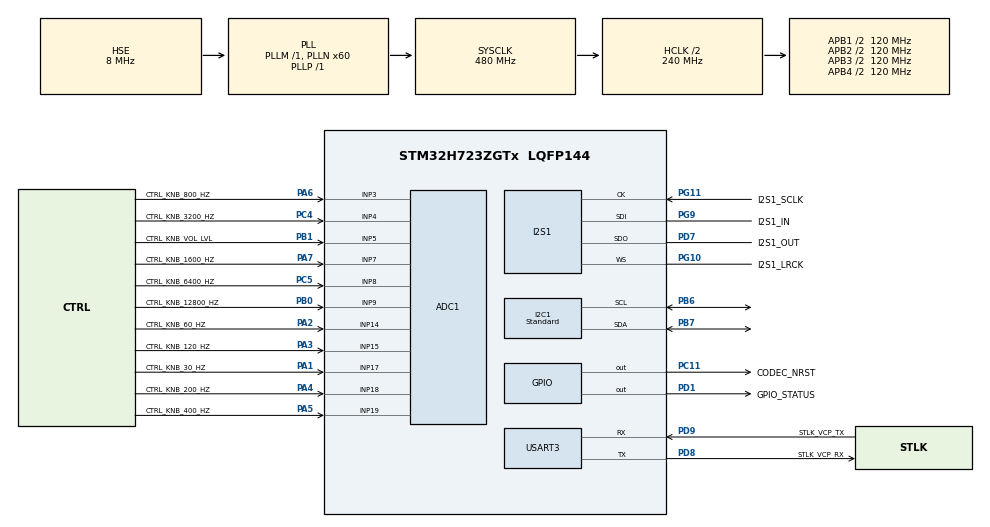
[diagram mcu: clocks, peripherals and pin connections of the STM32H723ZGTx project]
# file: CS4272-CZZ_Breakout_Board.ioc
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ADC1.Channel-0\#ChannelRegularConversion=ADC_CHANNEL_17
ADC1.Channel-1\#ChannelRegularConversion=ADC_CHANNEL_14
ADC1.Channel-10\#ChannelRegularConversion=ADC_CHANNEL_5
ADC1.Channel-2\#ChannelRegularConversion=ADC_CHANNEL_15
ADC1.Channel-3\#ChannelRegularConversion=ADC_CHANNEL_18
ADC1.Channel-4\#ChannelRegularConversion=ADC_CHANNEL_19
ADC1.Channel-5\#ChannelRegularConversion=ADC_CHANNEL_3
ADC1.Channel-6\#ChannelRegularConversion=ADC_CHANNEL_7
ADC1.Channel-7\#ChannelRegularConversion=ADC_CHANNEL_4
ADC1.Channel-8\#ChannelRegularConversion=ADC_CHANNEL_8
ADC1.Channel-9\#ChannelRegularConversion=ADC_CHANNEL_9
ADC1.ContinuousConvMode=DISABLE
ADC1.ConversionDataManagement=ADC_CONVERSIONDATA_DMA_CIRCULAR
ADC1.EOCSelection=ADC_EOC_SEQ_CONV
ADC1.ExternalTrigConv=ADC_EXTERNALTRIG_T2_TRGO
ADC1.NbrOfConversion=11
ADC1.NbrOfConversionFlag=1
ADC1.OffsetNumber-0\#ChannelRegularConversion=ADC_OFFSET_NONE
ADC1.OffsetNumber-1\#ChannelRegularConversion=ADC_OFFSET_NONE
ADC1.OffsetNumber-10\#ChannelRegularConversion=ADC_OFFSET_NONE
ADC1.OffsetNumber-2\#ChannelRegularConversion=ADC_OFFSET_NONE
ADC1.OffsetNumber-3\#ChannelRegularConversion=ADC_OFFSET_NONE
ADC1.OffsetNumber-4\#ChannelRegularConversion=ADC_OFFSET_NONE
ADC1.OffsetNumber-5\#ChannelRegularConversion=ADC_OFFSET_NONE
ADC1.OffsetNumber-6\#ChannelRegularConversion=ADC_OFFSET_NONE
ADC1.OffsetNumber-7\#ChannelRegularConversion=ADC_OFFSET_NONE
ADC1.OffsetNumber-8\#ChannelRegularConversion=ADC_OFFSET_NONE
ADC1.OffsetNumber-9\#ChannelRegularConversion=ADC_OFFSET_NONE
ADC1.OffsetSignedSaturation-0\#ChannelRegularConversion=DISABLE
ADC1.OffsetSignedSaturation-1\#ChannelRegularConversion=DISABLE
ADC1.OffsetSignedSaturation-10\#ChannelRegularConversion=DISABLE
ADC1.OffsetSignedSaturation-2\#ChannelRegularConversion=DISABLE
ADC1.OffsetSignedSaturation-3\#ChannelRegularConversion=DISABLE
ADC1.OffsetSignedSaturation-4\#ChannelRegularConversion=DISABLE
ADC1.OffsetSignedSaturation-5\#ChannelRegularConversion=DISABLE
ADC1.OffsetSignedSaturation-6\#ChannelRegularConversion=DISABLE
ADC1.OffsetSignedSaturation-7\#ChannelRegularConversion=DISABLE
ADC1.OffsetSignedSaturation-8\#ChannelRegularConversion=DISABLE
ADC1.OffsetSignedSaturation-9\#ChannelRegularConversion=DISABLE
ADC1.Rank-0\#ChannelRegularConversion=1
ADC1.Rank-1\#ChannelRegularConversion=2
ADC1.Rank-10\#ChannelRegularConversion=11
ADC1.Rank-2\#ChannelRegularConversion=3
ADC1.Rank-3\#ChannelRegularConversion=4
ADC1.Rank-4\#ChannelRegularConversion=5
ADC1.Rank-5\#ChannelRegularConversion=6
ADC1.Rank-6\#ChannelRegularConversion=7
ADC1.Rank-7\#ChannelRegularConversion=8
ADC1.Rank-8\#ChannelRegularConversion=9
ADC1.Rank-9\#ChannelRegularConversion=10
ADC1.SamplingTime-0\#ChannelRegularConversion=ADC_SAMPLETIME_387CYCLES_5
ADC1.SamplingTime-1\#ChannelRegularConversion=ADC_SAMPLETIME_387CYCLES_5
ADC1.SamplingTime-10\#ChannelRegularConversion=ADC_SAMPLETIME_387CYCLES_5
ADC1.SamplingTime-2\#ChannelRegularConversion=ADC_SAMPLETIME_387CYCLES_5
ADC1.SamplingTime-3\#ChannelRegularConversion=ADC_SAMPLETIME_387CYCLES_5
ADC1.SamplingTime-4\#ChannelRegularConversion=ADC_SAMPLETIME_387CYCLES_5
ADC1.SamplingTime-5\#ChannelRegularConversion=ADC_SAMPLETIME_387CYCLES_5
ADC1.SamplingTime-6\#ChannelRegularConversion=ADC_SAMPLETIME_387CYCLES_5
ADC1.SamplingTime-7\#ChannelRegularConversion=ADC_SAMPLETIME_387CYCLES_5
ADC1.SamplingTime-8\#ChannelRegularConversion=ADC_SAMPLETIME_387CYCLES_5
ADC1.SamplingTime-9\#ChannelRegularConversion=ADC_SAMPLETIME_387CYCLES_5
ADC1.master=1
Dma.ADC1.0.Direction=DMA_PERIPH_TO_MEMORY
Dma.ADC1.0.EventEnable=DISABLE
Dma.ADC1.0.FIFOMode=DMA_FIFOMODE_DISABLE
Dma.ADC1.0.Instance=DMA1_Stream0
Dma.ADC1.0.MemDataAlignment=DMA_MDATAALIGN_HALFWORD
Dma.ADC1.0.MemInc=DMA_MINC_ENABLE
Dma.ADC1.0.Mode=DMA_CIRCULAR
Dma.ADC1.0.PeriphDataAlignment=DMA_PDATAALIGN_HALFWORD
Dma.ADC1.0.PeriphInc=DMA_PINC_DISABLE
Dma.ADC1.0.Polarity=HAL_DMAMUX_REQ_GEN_RISING
Dma.ADC1.0.Priority=DMA_PRIORITY_VERY_HIGH
Dma.ADC1.0.RequestNumber=1
Dma.ADC1.0.SignalID=NONE
Dma.ADC1.0.SyncEnable=DISABLE
Dma.ADC1.0.SyncPolarity=HAL_DMAMUX_SYNC_NO_EVENT
Dma.ADC1.0.SyncRequestNumber=1
Dma.ADC1.0.SyncSignalID=NONE
Dma.Request0=ADC1
Dma.Request1=SPI1_RX
Dma.Request2=SPI1_TX
Dma.SPI1_RX.1.Direction=DMA_PERIPH_TO_MEMORY
Dma.SPI1_RX.1.EventEnable=DISABLE
Dma.SPI1_RX.1.FIFOMode=DMA_FIFOMODE_DISABLE
Dma.SPI1_RX.1.Instance=DMA1_Stream1
Dma.SPI1_RX.1.MemDataAlignment=DMA_MDATAALIGN_WORD
Dma.SPI1_RX.1.MemInc=DMA_MINC_ENABLE
Dma.SPI1_RX.1.Mode=DMA_CIRCULAR
Dma.SPI1_RX.1.PeriphDataAlignment=DMA_PDATAALIGN_WORD
Dma.SPI1_RX.1.PeriphInc=DMA_PINC_DISABLE
Dma.SPI1_RX.1.Polarity=HAL_DMAMUX_REQ_GEN_RISING
Dma.SPI1_RX.1.Priority=DMA_PRIORITY_VERY_HIGH
Dma.SPI1_RX.1.RequestNumber=1
Dma.SPI1_RX.1.SignalID=NONE
Dma.SPI1_RX.1.SyncEnable=DISABLE
Dma.SPI1_RX.1.SyncPolarity=HAL_DMAMUX_SYNC_NO_EVENT
Dma.SPI1_RX.1.SyncRequestNumber=1
Dma.SPI1_RX.1.SyncSignalID=NONE
Dma.SPI1_TX.2.Direction=DMA_MEMORY_TO_PERIPH
Dma.SPI1_TX.2.EventEnable=DISABLE
Dma.SPI1_TX.2.FIFOMode=DMA_FIFOMODE_DISABLE
Dma.SPI1_TX.2.Instance=DMA1_Stream2
Dma.SPI1_TX.2.MemDataAlignment=DMA_MDATAALIGN_WORD
Dma.SPI1_TX.2.MemInc=DMA_MINC_ENABLE
Dma.SPI1_TX.2.Mode=DMA_CIRCULAR
Dma.SPI1_TX.2.PeriphDataAlignment=DMA_PDATAALIGN_WORD
Dma.SPI1_TX.2.PeriphInc=DMA_PINC_DISABLE
Dma.SPI1_TX.2.Polarity=HAL_DMAMUX_REQ_GEN_RISING
Dma.SPI1_TX.2.Priority=DMA_PRIORITY_VERY_HIGH
Dma.SPI1_TX.2.RequestNumber=1
Dma.SPI1_TX.2.SignalID=NONE
Dma.SPI1_TX.2.SyncEnable=DISABLE
Dma.SPI1_TX.2.SyncPolarity=HAL_DMAMUX_SYNC_NO_EVENT
Dma.SPI1_TX.2.SyncRequestNumber=1
Dma.SPI1_TX.2.SyncSignalID=NONE
I2C1.I2C_Speed_Mode=I2C_Standard
I2C1.NoStretchMode=I2C_NOSTRETCH_DISABLE
I2C1.Speed=100
I2C1.Timing=0x307075B1
I2S1.AudioFreq=I2S_AUDIOFREQ_48K
I2S1.Data24BitAlignment=I2S_DATA_24BIT_ALIGNMENT_LEFT
I2S1.DataFormat=I2S_DATAFORMAT_24B
I2S1.ErrorAudioFreq=0.15 %
I2S1.Instance=SPI$Index
I2S1.RealAudioFreq=48.076 KHz
Mcu.Family=STM32H7
Mcu.Name=STM32H723ZGTx
Mcu.Package=LQFP144
NVIC.ADC_IRQn=true\:0\:0\:false\:false\:true\:true\:true\:true
NVIC.DMA1_Stream0_IRQn=true\:0\:0\:false\:false\:true\:false\:true\:true
NVIC.DMA1_Stream1_IRQn=true\:0\:0\:false\:false\:true\:false\:true\:true
NVIC.DMA1_Stream2_IRQn=true\:0\:0\:false\:false\:true\:false\:true\:true
NVIC.PriorityGroup=NVIC_PRIORITYGROUP_4
PA1.GPIO_Label=CTRL_KNB_30_HZ
PA1.Mode=IN17-Single-Ended
PA1.Signal=ADC1_INP17
PA13(JTMS/SWDIO).GPIO_Label=SWDIO
PA13(JTMS/SWDIO).Mode=Trace_Asynchronous_SW
PA13(JTMS/SWDIO).Signal=DEBUG_JTMS-SWDIO
PA14(JTCK/SWCLK).GPIO_Label=SWCLK
PA14(JTCK/SWCLK).Mode=Trace_Asynchronous_SW
PA14(JTCK/SWCLK).Signal=DEBUG_JTCK-SWCLK
PA2.GPIO_Label=CTRL_KNB_60_HZ
PA2.Signal=ADCx_INP14
PA3.GPIO_Label=CTRL_KNB_120_HZ
PA3.Signal=ADCx_INP15
PA4.GPIO_Label=CTRL_KNB_200_HZ
PA4.Signal=ADCx_INP18
PA5.GPIO_Label=CTRL_KNB_400_HZ
PA5.Signal=ADCx_INP19
PA6.GPIO_Label=CTRL_KNB_800_HZ
PA6.Signal=ADCx_INP3
PA7.GPIO_Label=CTRL_KNB_1600_HZ
PA7.Signal=ADCx_INP7
PB0.GPIO_Label=CTRL_KNB_12800_HZ
PB0.Signal=ADCx_INP9
PB1.GPIO_Label=CTRL_KNB_VOL_LVL
PB1.Signal=ADCx_INP5
PB3(JTDO/TRACESWO).GPIO_Label=SWO
PB3(JTDO/TRACESWO).Mode=Trace_Asynchronous_SW
PB3(JTDO/TRACESWO).Signal=DEBUG_JTDO-SWO
PB6.GPIO_Speed=GPIO_SPEED_FREQ_LOW
PB6.Mode=I2C
PB6.Signal=I2C1_SCL
PB7.GPIO_Speed=GPIO_SPEED_FREQ_LOW
PB7.Mode=I2C
PB7.Signal=I2C1_SDA
PC11.GPIO_Label=CODEC_NRST
PC11.GPIO_Speed=GPIO_SPEED_FREQ_LOW
PC11.Signal=GPIO_Output
PC14-OSC32_IN.Mode=LSE-External-Oscillator
PC14-OSC32_IN.Signal=RCC_OSC32_IN
PC15-OSC32_OUT.Mode=LSE-External-Oscillator
PC15-OSC32_OUT.Signal=RCC_OSC32_OUT
PC4.GPIO_Label=CTRL_KNB_3200_HZ
PC4.Signal=ADCx_INP4
PC5.GPIO_Label=CTRL_KNB_6400_HZ
PC5.Signal=ADCx_INP8
PD1.GPIO_Label=GPIO_STATUS
PD1.GPIO_Speed=GPIO_SPEED_FREQ_LOW
PD1.Signal=GPIO_Output
PD7.GPIO_Label=I2S1_OUT
PD7.Mode=Full_Duplex_Slave
PD7.Signal=I2S1_SDO
PD8.GPIO_Label=STLK_VCP_RX
PD8.Mode=Asynchronous
PD8.Signal=USART3_TX
PD9.GPIO_Label=STLK_VCP_TX
PD9.Mode=Asynchronous
PD9.Signal=USART3_RX
PG10.GPIO_Label=I2S1_LRCK
PG10.Mode=Full_Duplex_Slave
PG10.Signal=I2S1_WS
PG11.GPIO_Label=I2S1_SCLK
PG11.Mode=Full_Duplex_Slave
PG11.Signal=I2S1_CK
PG9.GPIO_Label=I2S1_IN
PG9.Mode=Full_Duplex_Slave
PG9.Signal=I2S1_SDI
PH0-OSC_IN.GPIO_Label=MCO
PH0-OSC_IN.Mode=HSE-External-Clock-Source
PH0-OSC_IN.Signal=RCC_OSC_IN
PH1-OSC_OUT.Signal=RCC_OSC_OUT
ProjectManager.HeapSize=0x200
ProjectManager.StackSize=0x400
ProjectManager.TargetToolchain=STM32CubeIDE
RCC.ADCFreq_Value=96000000
RCC.APB1Freq_Value=120000000
RCC.APB2Freq_Value=120000000
RCC.APB3Freq_Value=120000000
RCC.APB4Freq_Value=120000000
RCC.CortexFreq_Value=480000000
RCC.D1PPRE=RCC_APB3_DIV2
RCC.D2PPRE1=RCC_APB1_DIV2
RCC.D2PPRE2=RCC_APB2_DIV2
RCC.D3PPRE=RCC_APB4_DIV2
RCC.DIVM1=1
RCC.DIVM2=1
RCC.DIVN1=60
RCC.DIVN2=24
RCC.DIVP1=1
RCC.DIVQ1=4
RCC.HCLKFreq_Value=240000000
RCC.HPRE=RCC_HCLK_DIV2
RCC.HSE_VALUE=8000000
RCC.PLL2FRACN=0
RCC.PLLFRACN=0
RCC.PLLSourceVirtual=RCC_PLLSOURCE_HSE
RCC.SYSCLKFreq_VALUE=480000000
RCC.SYSCLKSource=RCC_SYSCLKSOURCE_PLLCLK
RCC.USBCLockSelection=RCC_USBCLKSOURCE_HSI48
RCC.USBFreq_Value=48000000
SH.ADCx_INP14.0=ADC1_INP14,IN14-Single-Ended
SH.ADCx_INP15.0=ADC1_INP15,IN15-Single-Ended
SH.ADCx_INP18.0=ADC1_INP18,IN18-Single-Ended
SH.ADCx_INP19.0=ADC1_INP19,IN19-Single-Ended
SH.ADCx_INP3.0=ADC1_INP3,IN3-Single-Ended
SH.ADCx_INP4.0=ADC1_INP4,IN4-Single-Ended
SH.ADCx_INP5.0=ADC1_INP5,IN5-Single-Ended
SH.ADCx_INP7.0=ADC1_INP7,IN7-Single-Ended
SH.ADCx_INP8.0=ADC1_INP8,IN8-Single-Ended
SH.ADCx_INP9.0=ADC1_INP9,IN9-Single-Ended
TIM2.Channel-PWM\ Generation1\ No\ Output=TIM_CHANNEL_1
TIM2.Period=10000-1
TIM2.Prescaler=2400-1
TIM2.TIM_MasterOutputTrigger=TIM_TRGO_UPDATE
USART3.VirtualMode-Asynchronous=VM_ASYNC
VP_MEMORYMAP_VS_MEMORYMAP.Mode=CurAppReg
VP_TIM2_VS_ClockSourceINT.Mode=Internal
VP_TIM2_VS_no_output1.Mode=PWM Generation1 No Output
board=NUCLEO-H723ZG

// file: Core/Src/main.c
/* USER CODE BEGIN Header */
/**
  ******************************************************************************
  * @file           : main.c
  * @brief          : Main program body
  ******************************************************************************
  * @attention
  *
  * Copyright (c) 2024 STMicroelectronics.
  * All rights reserved.
  *
  * This software is licensed under terms that can be found in the LICENSE file
  * in the root directory of this software component.
  * If no LICENSE file comes with this software, it is provided AS-IS.
  *
  ******************************************************************************
  */
/* USER CODE END Header */
#include "main.h"

/* USER CODE BEGIN Includes */
#include <stdio.h>
#include <string.h>

#include "CS4272.h"
#include "EMAFilter.h"
#include "PeakingFilter.h"
/* USER CODE END Includes */

/* USER CODE BEGIN PD */
#define AUDIO_DATA_BUFFER_SIZE  128
#define AUDIO_SAMPLE_RATE_HZ 	48000.0f

#define NUM_CTRL_KNOBS 		 11 // 10 Frequency Bands, 1 Volume Level
#define NUM_FREQ_BANDS 		 10
#define CTRL_KNOBS_DEADBAND  0.05f
#define CTRL_KNOBS_EMA_ALPHA 0.85f // Alpha factor for EMA Low Pass Filter (Lower alpha -> Lower cutoff frequency)

#define MAX_OUTPUT_VOLUME_SCALE 2.0f
#define MAX_FILTER_GAIN_SCALE 4.0f // Must be positive
#define MIN_FILTER_GAIN_SCALE 0.25f // Must be positive

#define ADC_RAW_NORMALIZATION_FACTOR 65535 // 2^16 - 1
#define INT32_TO_FLOAT 				 4.6566128752e-10f // 1 / (2^(32-1) - 1)
#define FLOAT_TO_INT32 				 2.147483647e9f // 2^(32-1) - 1
/* USER CODE END PD */

ADC_HandleTypeDef hadc1;
DMA_HandleTypeDef hdma_adc1;

I2C_HandleTypeDef hi2c1;

I2S_HandleTypeDef hi2s1;
DMA_HandleTypeDef hdma_spi1_rx;
DMA_HandleTypeDef hdma_spi1_tx;

TIM_HandleTypeDef htim2;

UART_HandleTypeDef huart3;

/* USER CODE BEGIN PV */
// CS4272 Codec
CS4272 codec;

// CMSIS IIR Filters for Stereo Channel
IIR_Direct_Form_1 left_iir_filter;
IIR_Direct_Form_1 right_iir_filter;

// Struct to hold our filter parameters that can be changed by the control knobs
PeakingFilterParameters peaking_filters_params[NUM_FREQ_BANDS];

// EMA Low Pass Filters for the Control Knobs
EMAFilter ema_filters[NUM_CTRL_KNOBS];

// Pre-defined fixed center frequencies for our peaking filters
static const float peaking_filter_center_freqs[NUM_FREQ_BANDS] = {
		30.0f,
		60.0f,
		120.0f,
		200.0f,
		400.0f,
		800.0f,
		1600.0f,
		3200.0f,
		6400.0f,
		12800.0f
};

// Pre-defined fixed bandwidths for our peaking filters
static const float peaking_filter_bandwidths[NUM_FREQ_BANDS] = {
		5.0f,
		10.0f,
		20.0f,
		40.0f,
		100.0f,
		145.0f,
		240.0f,
		500.0f,
		1200.0f,
		6000.0f
};

// Ping Pong buffers for our codec's ADC and DAC
volatile int32_t audio_adc_buff[AUDIO_DATA_BUFFER_SIZE] = {0};
volatile int32_t audio_dac_buff[AUDIO_DATA_BUFFER_SIZE] = {0};
// Access pointers to our audio data buffers
static volatile int32_t *audio_in_buff_ptr = &audio_adc_buff[0];
static volatile int32_t *audio_out_buff_ptr = &audio_dac_buff[0];
// Stereo buffers for IIR filters
static float left_input_buffer[AUDIO_DATA_BUFFER_SIZE/4] = {0};
static float left_output_buffer[AUDIO_DATA_BUFFER_SIZE/4] = {0};
static float right_input_buffer[AUDIO_DATA_BUFFER_SIZE/4] = {0};
static float right_output_buffer[AUDIO_DATA_BUFFER_SIZE/4] = {0};
// Flag to indicate that our current in buffer has filled up and is ready to be switched with the out buffer
volatile uint8_t audio_buff_samples_rdy = 0;

// Buffer to hold our raw sampled control knob signals
volatile uint16_t ctrl_knobs_settings_raw[NUM_CTRL_KNOBS] = {0};
// Buffer to hold our control knob signals normalized to [0.0, 1.0] (First 7 are frequency bands, Last is Volume Level)
volatile float 	  ctrl_knobs_settings[NUM_CTRL_KNOBS] = {0};
// Buffer to hold memory of the control knob samples for low pass filtering purposes/deadband calculations
volatile float    prev_ctrl_knobs_settings[NUM_CTRL_KNOBS] = {0};

volatile uint8_t  ctrl_knobs_adc_samples_rdy = 0;
// Flag to indicate control knobs are being changed
volatile uint8_t  ctrl_knobs_adc_lock = 0;
// Lock to make sure we don't change ctrl_knobs_settings in the middle of processing
volatile uint8_t  ctrl_knobs_audio_proc_lock = 0;
// Toggle to modify either the filter's gain (mode_select=0) or the bandwidth (mode_select=1)
volatile uint8_t mode_select = 0;

// Keeps track of the audio output level (Left and Right channels are equally leveled)
volatile float output_volume_level = 1.0f;

// Buffer used for UART transmission
char              uart_buff[128];
/* USER CODE END PV */

void SystemClock_Config(void);
static void MX_GPIO_Init(void);
static void MX_DMA_Init(void);
static void MX_ADC1_Init(void);
static void MX_USART3_UART_Init(void);
static void MX_TIM2_Init(void);
static void MX_I2C1_Init(void);
static void MX_I2S1_Init(void);

/* USER CODE BEGIN 0 */

// Callback for our control knobs
void HAL_ADC_ConvCpltCallback(ADC_HandleTypeDef *hadc)
{
	if (!ctrl_knobs_adc_lock)
	{
		for (size_t i=0; i<NUM_CTRL_KNOBS; ++i)
		{
			// Convert raw ADC samples from the control knobs to floats and normalize to [0.0, 1.0]
			ctrl_knobs_settings[i] = (float) (ctrl_knobs_settings_raw[i]) / ADC_RAW_NORMALIZATION_FACTOR;
		}
		ctrl_knobs_adc_samples_rdy = 1;
	}
}

// Converts processed control knob samples into filter parameters
void processControlKnobs()
{
	// Set our lock to prevent the ADC from updating the ctrl_knobs_settings during this function call
	ctrl_knobs_adc_lock = 1;

	if (!ctrl_knobs_audio_proc_lock)
	{
		for (size_t i=0; i<NUM_CTRL_KNOBS; ++i)
		{
			// Low Pass Filter the control knob signals
			ctrl_knobs_settings[i] = EMAFilter_Update(&ema_filters[i], ctrl_knobs_settings[i]);

			if (i != NUM_CTRL_KNOBS-1)
			{
				if (fabs(ctrl_knobs_settings[i]-prev_ctrl_knobs_settings[i]) > CTRL_KNOBS_DEADBAND)
				{
					// If we are past the deadband then update our filter_params

					// Center Frequencies are fixed and go from [100, 6400] Hz
					if (peaking_filters_params[i].center_freq_hz != peaking_filter_center_freqs[i])
					{
						peaking_filters_params[i].center_freq_hz = peaking_filter_center_freqs[i];
					}

					// Bandwidths are fixed and go from [5, 6000] Hz
					if (peaking_filters_params[i].bandwidth_hz != peaking_filter_bandwidths[i])
					{
						peaking_filters_params[i].bandwidth_hz = peaking_filter_bandwidths[i];
					}

					// Update the filter gain
					peaking_filters_params[i].gain_linear = ((MAX_FILTER_GAIN_SCALE - MIN_FILTER_GAIN_SCALE) * ctrl_knobs_settings[i]) + MIN_FILTER_GAIN_SCALE;
//					if (i == 4)
//					{
//						peaking_filters_params[i].gain_linear = ((MAX_FILTER_GAIN_SCALE - MIN_FILTER_GAIN_SCALE) * ctrl_knobs_settings[i]) + MIN_FILTER_GAIN_SCALE;
//					}
//					else
//					{
//						peaking_filters_params[i].gain_linear = 1.0f;
//					}

				}
			}
			else
			{
				// Update the output_volume_level
				output_volume_level = MAX_OUTPUT_VOLUME_SCALE * ctrl_knobs_settings[i];
			}

			// Update the prev_ctrl_knobs_settings
			prev_ctrl_knobs_settings[i] = ctrl_knobs_settings[i];
		}
		// Update our IIR filters with our new parameters
		PeakingFilter_Set_Coefficients_CMSIS(&left_iir_filter, peaking_filters_params, NUM_FREQ_BANDS);
		PeakingFilter_Set_Coefficients_CMSIS(&right_iir_filter, peaking_filters_params, NUM_FREQ_BANDS);
	}

	// Reset ctrl_knobs_adc_lock
	ctrl_knobs_adc_lock = 0;
	// Reset ctrl_knobs_adc_samples_rdy to indicate we need a new batch of ctrl_knobs_settings samples from the ADC
	ctrl_knobs_adc_samples_rdy = 0;
}

// Callbacks for ping ponging I2S audio TX and RX buffers
void HAL_I2SEx_TxRxHalfCpltCallback(I2S_HandleTypeDef *hi2s)
{
	audio_in_buff_ptr = &audio_adc_buff[0];
	audio_out_buff_ptr = &audio_dac_buff[0];

	audio_buff_samples_rdy = 1;
}

void HAL_I2SEx_TxRxCpltCallback(I2S_HandleTypeDef *hi2s)
{
	audio_in_buff_ptr = &audio_adc_buff[AUDIO_DATA_BUFFER_SIZE/2];
	audio_out_buff_ptr = &audio_dac_buff[AUDIO_DATA_BUFFER_SIZE/2];

	audio_buff_samples_rdy = 1;
}

// Function that processes the audio data held in the buffers
void processAudioData()
{
	// Set our control knob lock to prevent any changes to the control settings during this function call
	ctrl_knobs_audio_proc_lock = 1;

	for (size_t i=0; i<(AUDIO_DATA_BUFFER_SIZE/4); ++i)
	{
		// Fill in our input buffers and convert int32_t to floats for processing
		left_input_buffer[i] = INT32_TO_FLOAT * ((float) audio_in_buff_ptr[2*i]);
		right_input_buffer[i] = INT32_TO_FLOAT * ((float) audio_in_buff_ptr[(2*i)+1]);
	}

	PeakingFilter_Update_CMSIS(&left_iir_filter, left_input_buffer, left_output_buffer, AUDIO_DATA_BUFFER_SIZE/4);
	PeakingFilter_Update_CMSIS(&right_iir_filter, right_input_buffer, right_output_buffer, AUDIO_DATA_BUFFER_SIZE/4);

	const float scaling_factor = FLOAT_TO_INT32 * output_volume_level;
	for (size_t i=0; i<(AUDIO_DATA_BUFFER_SIZE/4); ++i)
	{
		// Fill in our output buffers
		audio_out_buff_ptr[2*i] = scaling_factor * left_output_buffer[i];
		audio_out_buff_ptr[(2*i)+1] = scaling_factor * right_output_buffer[i];
	}

	// Reset our control knob lock since we completed processing
	ctrl_knobs_audio_proc_lock = 0;
	// Reset audio_buff_samples_rdy to indicate we need a new batch of audio samples from I2S
	audio_buff_samples_rdy = 0;
}
/* USER CODE END 0 */

int main(void)
{

  /* MCU Configuration--------------------------------------------------------*/

  /* Reset of all peripherals, Initializes the Flash interface and the Systick. */
  HAL_Init();

  /* Configure the system clock */
  SystemClock_Config();

  /* Initialize all configured peripherals */
  MX_GPIO_Init();
  MX_DMA_Init();
  MX_ADC1_Init();
  MX_USART3_UART_Init();
  MX_TIM2_Init();
  MX_I2C1_Init();
  MX_I2S1_Init();
  /* USER CODE BEGIN 2 */
  // Calibrate ADC 1
  HAL_ADCEx_Calibration_Start(&hadc1, ADC_CALIB_OFFSET, ADC_SINGLE_ENDED);
  // Start ADC 1 with DMA to read in our control knobs
  HAL_ADC_Start_DMA(&hadc1, (uint32_t *) ctrl_knobs_settings_raw, NUM_CTRL_KNOBS);
  // Start timer 2 for clocking ADC 1
  HAL_TIM_Base_Start(&htim2);

  // Initialize our codec
  CS4272_Init(&codec, &hi2c1);
  // Initialize our IIR Peaking Filters
  PeakingFilter_Init_CMSIS(&left_iir_filter, AUDIO_SAMPLE_RATE_HZ);
  PeakingFilter_Init_CMSIS(&right_iir_filter, AUDIO_SAMPLE_RATE_HZ);
  // Initialize our EMA Low Pass Filters
  EMAFilters_Init(ema_filters, (size_t) NUM_CTRL_KNOBS, CTRL_KNOBS_EMA_ALPHA);

  // Initialize our I2S data stream
  HAL_I2SEx_TransmitReceive_DMA(&hi2s1, (uint16_t *) audio_dac_buff, (uint16_t *) audio_adc_buff, AUDIO_DATA_BUFFER_SIZE);

  /* USER CODE END 2 */

  /* Infinite loop */
  while (1)
  {

    /* USER CODE BEGIN 3 */
	  if (audio_buff_samples_rdy)
	  {
		  // Buffers are initialized with audio data, we can process the data now
		  HAL_GPIO_WritePin(GPIO_STATUS_GPIO_Port, GPIO_STATUS_Pin, GPIO_PIN_SET);
		  processAudioData();
		  HAL_GPIO_WritePin(GPIO_STATUS_GPIO_Port, GPIO_STATUS_Pin, GPIO_PIN_RESET);
	  }

	  if (ctrl_knobs_adc_samples_rdy)
	  {
		  // Buffers are initialized with control knob data, we can process the data now
		  processControlKnobs();
	  }

//	  for (size_t i=0; i<NUM_CTRL_KNOBS; ++i)
//	  {
//		  if (i == 2)
//		  {
//			  sprintf(uart_buff, "Control Knob %i Normalized Value: %f \r\n", i+1, ctrl_knobs_settings[i]);
//			  HAL_UART_Transmit(&huart3, (uint8_t *) uart_buff, strlen(uart_buff), HAL_MAX_DELAY);
//		  }
//	  }

  }
  /* USER CODE END 3 */
}

void SystemClock_Config(void)
{
  RCC_OscInitTypeDef RCC_OscInitStruct = {0};
  RCC_ClkInitTypeDef RCC_ClkInitStruct = {0};

  /** Supply configuration update enable
  */
  HAL_PWREx_ConfigSupply(PWR_LDO_SUPPLY);

  /** Configure the main internal regulator output voltage
  */
  __HAL_PWR_VOLTAGESCALING_CONFIG(PWR_REGULATOR_VOLTAGE_SCALE0);

  while(!__HAL_PWR_GET_FLAG(PWR_FLAG_VOSRDY)) {}

  /** Initializes the RCC Oscillators according to the specified parameters
  * in the RCC_OscInitTypeDef structure.
  */
  RCC_OscInitStruct.OscillatorType = RCC_OSCILLATORTYPE_HSE;
  RCC_OscInitStruct.HSEState = RCC_HSE_BYPASS;
  RCC_OscInitStruct.PLL.PLLState = RCC_PLL_ON;
  RCC_OscInitStruct.PLL.PLLSource = RCC_PLLSOURCE_HSE;
  RCC_OscInitStruct.PLL.PLLM = 1;
  RCC_OscInitStruct.PLL.PLLN = 60;
  RCC_OscInitStruct.PLL.PLLP = 1;
  RCC_OscInitStruct.PLL.PLLQ = 4;
  RCC_OscInitStruct.PLL.PLLR = 2;
  RCC_OscInitStruct.PLL.PLLRGE = RCC_PLL1VCIRANGE_3;
  RCC_OscInitStruct.PLL.PLLVCOSEL = RCC_PLL1VCOWIDE;
  RCC_OscInitStruct.PLL.PLLFRACN = 0;
  if (HAL_RCC_OscConfig(&RCC_OscInitStruct) != HAL_OK)
  {
    Error_Handler();
  }

  /** Initializes the CPU, AHB and APB buses clocks
  */
  RCC_ClkInitStruct.ClockType = RCC_CLOCKTYPE_HCLK|RCC_CLOCKTYPE_SYSCLK
                              |RCC_CLOCKTYPE_PCLK1|RCC_CLOCKTYPE_PCLK2
                              |RCC_CLOCKTYPE_D3PCLK1|RCC_CLOCKTYPE_D1PCLK1;
  RCC_ClkInitStruct.SYSCLKSource = RCC_SYSCLKSOURCE_PLLCLK;
  RCC_ClkInitStruct.SYSCLKDivider = RCC_SYSCLK_DIV1;
  RCC_ClkInitStruct.AHBCLKDivider = RCC_HCLK_DIV2;
  RCC_ClkInitStruct.APB3CLKDivider = RCC_APB3_DIV2;
  RCC_ClkInitStruct.APB1CLKDivider = RCC_APB1_DIV2;
  RCC_ClkInitStruct.APB2CLKDivider = RCC_APB2_DIV2;
  RCC_ClkInitStruct.APB4CLKDivider = RCC_APB4_DIV2;

  if (HAL_RCC_ClockConfig(&RCC_ClkInitStruct, FLASH_LATENCY_3) != HAL_OK)
  {
    Error_Handler();
  }
}

static void MX_ADC1_Init(void)
{

  ADC_MultiModeTypeDef multimode = {0};
  ADC_ChannelConfTypeDef sConfig = {0};

  /** Common config
  */
  hadc1.Instance = ADC1;
  hadc1.Init.ClockPrescaler = ADC_CLOCK_ASYNC_DIV1;
  hadc1.Init.Resolution = ADC_RESOLUTION_16B;
  hadc1.Init.ScanConvMode = ADC_SCAN_ENABLE;
  hadc1.Init.EOCSelection = ADC_EOC_SEQ_CONV;
  hadc1.Init.LowPowerAutoWait = DISABLE;
  hadc1.Init.ContinuousConvMode = DISABLE;
  hadc1.Init.NbrOfConversion = 11;
  hadc1.Init.DiscontinuousConvMode = DISABLE;
  hadc1.Init.ExternalTrigConv = ADC_EXTERNALTRIG_T2_TRGO;
  hadc1.Init.ExternalTrigConvEdge = ADC_EXTERNALTRIGCONVEDGE_RISING;
  hadc1.Init.ConversionDataManagement = ADC_CONVERSIONDATA_DMA_CIRCULAR;
  hadc1.Init.Overrun = ADC_OVR_DATA_PRESERVED;
  hadc1.Init.LeftBitShift = ADC_LEFTBITSHIFT_NONE;
  hadc1.Init.OversamplingMode = DISABLE;
  hadc1.Init.Oversampling.Ratio = 1;
  if (HAL_ADC_Init(&hadc1) != HAL_OK)
  {
    Error_Handler();
  }

  /** Configure the ADC multi-mode
  */
  multimode.Mode = ADC_MODE_INDEPENDENT;
  if (HAL_ADCEx_MultiModeConfigChannel(&hadc1, &multimode) != HAL_OK)
  {
    Error_Handler();
  }

  /** Configure Regular Channel
  */
  sConfig.Channel = ADC_CHANNEL_17;
  sConfig.Rank = ADC_REGULAR_RANK_1;
  sConfig.SamplingTime = ADC_SAMPLETIME_387CYCLES_5;
  sConfig.SingleDiff = ADC_SINGLE_ENDED;
  sConfig.OffsetNumber = ADC_OFFSET_NONE;
  sConfig.Offset = 0;
  sConfig.OffsetSignedSaturation = DISABLE;
  if (HAL_ADC_ConfigChannel(&hadc1, &sConfig) != HAL_OK)
  {
    Error_Handler();
  }

  /** Configure Regular Channel
  */
  sConfig.Channel = ADC_CHANNEL_14;
  sConfig.Rank = ADC_REGULAR_RANK_2;
  if (HAL_ADC_ConfigChannel(&hadc1, &sConfig) != HAL_OK)
  {
    Error_Handler();
  }

  /** Configure Regular Channel
  */
  sConfig.Channel = ADC_CHANNEL_15;
  sConfig.Rank = ADC_REGULAR_RANK_3;
  if (HAL_ADC_ConfigChannel(&hadc1, &sConfig) != HAL_OK)
  {
    Error_Handler();
  }

  /** Configure Regular Channel
  */
  sConfig.Channel = ADC_CHANNEL_18;
  sConfig.Rank = ADC_REGULAR_RANK_4;
  if (HAL_ADC_ConfigChannel(&hadc1, &sConfig) != HAL_OK)
  {
    Error_Handler();
  }

  /** Configure Regular Channel
  */
  sConfig.Channel = ADC_CHANNEL_19;
  sConfig.Rank = ADC_REGULAR_RANK_5;
  if (HAL_ADC_ConfigChannel(&hadc1, &sConfig) != HAL_OK)
  {
    Error_Handler();
  }

  /** Configure Regular Channel
  */
  sConfig.Channel = ADC_CHANNEL_3;
  sConfig.Rank = ADC_REGULAR_RANK_6;
  if (HAL_ADC_ConfigChannel(&hadc1, &sConfig) != HAL_OK)
  {
    Error_Handler();
  }

  /** Configure Regular Channel
  */
  sConfig.Channel = ADC_CHANNEL_7;
  sConfig.Rank = ADC_REGULAR_RANK_7;
  if (HAL_ADC_ConfigChannel(&hadc1, &sConfig) != HAL_OK)
  {
    Error_Handler();
  }

  /** Configure Regular Channel
  */
  sConfig.Channel = ADC_CHANNEL_4;
  sConfig.Rank = ADC_REGULAR_RANK_8;
  if (HAL_ADC_ConfigChannel(&hadc1, &sConfig) != HAL_OK)
  {
    Error_Handler();
  }

  /** Configure Regular Channel
  */
  sConfig.Channel = ADC_CHANNEL_8;
  sConfig.Rank = ADC_REGULAR_RANK_9;
  if (HAL_ADC_ConfigChannel(&hadc1, &sConfig) != HAL_OK)
  {
    Error_Handler();
  }

  /** Configure Regular Channel
  */
  sConfig.Channel = ADC_CHANNEL_9;
  sConfig.Rank = ADC_REGULAR_RANK_10;
  if (HAL_ADC_ConfigChannel(&hadc1, &sConfig) != HAL_OK)
  {
    Error_Handler();
  }

  /** Configure Regular Channel
  */
  sConfig.Channel = ADC_CHANNEL_5;
  sConfig.Rank = ADC_REGULAR_RANK_11;
  if (HAL_ADC_ConfigChannel(&hadc1, &sConfig) != HAL_OK)
  {
    Error_Handler();
  }

}

static void MX_I2C1_Init(void)
{

  hi2c1.Instance = I2C1;
  hi2c1.Init.Timing = 0x307075B1;
  hi2c1.Init.OwnAddress1 = 0;
  hi2c1.Init.AddressingMode = I2C_ADDRESSINGMODE_7BIT;
  hi2c1.Init.DualAddressMode = I2C_DUALADDRESS_DISABLE;
  hi2c1.Init.OwnAddress2 = 0;
  hi2c1.Init.OwnAddress2Masks = I2C_OA2_NOMASK;
  hi2c1.Init.GeneralCallMode = I2C_GENERALCALL_DISABLE;
  hi2c1.Init.NoStretchMode = I2C_NOSTRETCH_DISABLE;
  if (HAL_I2C_Init(&hi2c1) != HAL_OK)
  {
    Error_Handler();
  }

  /** Configure Analogue filter
  */
  if (HAL_I2CEx_ConfigAnalogFilter(&hi2c1, I2C_ANALOGFILTER_ENABLE) != HAL_OK)
  {
    Error_Handler();
  }

  /** Configure Digital filter
  */
  if (HAL_I2CEx_ConfigDigitalFilter(&hi2c1, 0) != HAL_OK)
  {
    Error_Handler();
  }

}

static void MX_I2S1_Init(void)
{

  hi2s1.Instance = SPI1;
  hi2s1.Init.Mode = I2S_MODE_SLAVE_FULLDUPLEX;
  hi2s1.Init.Standard = I2S_STANDARD_PHILIPS;
  hi2s1.Init.DataFormat = I2S_DATAFORMAT_24B;
  hi2s1.Init.MCLKOutput = I2S_MCLKOUTPUT_DISABLE;
  hi2s1.Init.AudioFreq = I2S_AUDIOFREQ_48K;
  hi2s1.Init.CPOL = I2S_CPOL_LOW;
  hi2s1.Init.FirstBit = I2S_FIRSTBIT_MSB;
  hi2s1.Init.WSInversion = I2S_WS_INVERSION_DISABLE;
  hi2s1.Init.Data24BitAlignment = I2S_DATA_24BIT_ALIGNMENT_LEFT;
  hi2s1.Init.MasterKeepIOState = I2S_MASTER_KEEP_IO_STATE_DISABLE;
  if (HAL_I2S_Init(&hi2s1) != HAL_OK)
  {
    Error_Handler();
  }

}

static void MX_TIM2_Init(void)
{

  TIM_ClockConfigTypeDef sClockSourceConfig = {0};
  TIM_MasterConfigTypeDef sMasterConfig = {0};
  TIM_OC_InitTypeDef sConfigOC = {0};

  htim2.Instance = TIM2;
  htim2.Init.Prescaler = 2400-1;
  htim2.Init.CounterMode = TIM_COUNTERMODE_UP;
  htim2.Init.Period = 10000-1;
  htim2.Init.ClockDivision = TIM_CLOCKDIVISION_DIV1;
  htim2.Init.AutoReloadPreload = TIM_AUTORELOAD_PRELOAD_DISABLE;
  if (HAL_TIM_Base_Init(&htim2) != HAL_OK)
  {
    Error_Handler();
  }
  sClockSourceConfig.ClockSource = TIM_CLOCKSOURCE_INTERNAL;
  if (HAL_TIM_ConfigClockSource(&htim2, &sClockSourceConfig) != HAL_OK)
  {
    Error_Handler();
  }
  if (HAL_TIM_PWM_Init(&htim2) != HAL_OK)
  {
    Error_Handler();
  }
  sMasterConfig.MasterOutputTrigger = TIM_TRGO_UPDATE;
  sMasterConfig.MasterSlaveMode = TIM_MASTERSLAVEMODE_DISABLE;
  if (HAL_TIMEx_MasterConfigSynchronization(&htim2, &sMasterConfig) != HAL_OK)
  {
    Error_Handler();
  }
  sConfigOC.OCMode = TIM_OCMODE_PWM1;
  sConfigOC.Pulse = 0;
  sConfigOC.OCPolarity = TIM_OCPOLARITY_HIGH;
  sConfigOC.OCFastMode = TIM_OCFAST_DISABLE;
  if (HAL_TIM_PWM_ConfigChannel(&htim2, &sConfigOC, TIM_CHANNEL_1) != HAL_OK)
  {
    Error_Handler();
  }

}

static void MX_USART3_UART_Init(void)
{

  huart3.Instance = USART3;
  huart3.Init.BaudRate = 115200;
  huart3.Init.WordLength = UART_WORDLENGTH_8B;
  huart3.Init.StopBits = UART_STOPBITS_1;
  huart3.Init.Parity = UART_PARITY_NONE;
  huart3.Init.Mode = UART_MODE_TX_RX;
  huart3.Init.HwFlowCtl = UART_HWCONTROL_NONE;
  huart3.Init.OverSampling = UART_OVERSAMPLING_16;
  huart3.Init.OneBitSampling = UART_ONE_BIT_SAMPLE_DISABLE;
  huart3.Init.ClockPrescaler = UART_PRESCALER_DIV1;
  huart3.AdvancedInit.AdvFeatureInit = UART_ADVFEATURE_NO_INIT;
  if (HAL_UART_Init(&huart3) != HAL_OK)
  {
    Error_Handler();
  }
  if (HAL_UARTEx_SetTxFifoThreshold(&huart3, UART_TXFIFO_THRESHOLD_1_8) != HAL_OK)
  {
    Error_Handler();
  }
  if (HAL_UARTEx_SetRxFifoThreshold(&huart3, UART_RXFIFO_THRESHOLD_1_8) != HAL_OK)
  {
    Error_Handler();
  }
  if (HAL_UARTEx_DisableFifoMode(&huart3) != HAL_OK)
  {
    Error_Handler();
  }

}

static void MX_DMA_Init(void)
{

  /* DMA controller clock enable */
  __HAL_RCC_DMA1_CLK_ENABLE();

  /* DMA interrupt init */
  /* DMA1_Stream0_IRQn interrupt configuration */
  HAL_NVIC_SetPriority(DMA1_Stream0_IRQn, 0, 0);
  HAL_NVIC_EnableIRQ(DMA1_Stream0_IRQn);
  /* DMA1_Stream1_IRQn interrupt configuration */
  HAL_NVIC_SetPriority(DMA1_Stream1_IRQn, 0, 0);
  HAL_NVIC_EnableIRQ(DMA1_Stream1_IRQn);
  /* DMA1_Stream2_IRQn interrupt configuration */
  HAL_NVIC_SetPriority(DMA1_Stream2_IRQn, 0, 0);
  HAL_NVIC_EnableIRQ(DMA1_Stream2_IRQn);

}

static void MX_GPIO_Init(void)
{
  GPIO_InitTypeDef GPIO_InitStruct = {0};

  /* GPIO Ports Clock Enable */
  __HAL_RCC_GPIOC_CLK_ENABLE();
  __HAL_RCC_GPIOH_CLK_ENABLE();
  __HAL_RCC_GPIOA_CLK_ENABLE();
  __HAL_RCC_GPIOB_CLK_ENABLE();
  __HAL_RCC_GPIOD_CLK_ENABLE();
  __HAL_RCC_GPIOG_CLK_ENABLE();

  /*Configure GPIO pin Output Level */
  HAL_GPIO_WritePin(CODEC_NRST_GPIO_Port, CODEC_NRST_Pin, GPIO_PIN_RESET);

  /*Configure GPIO pin Output Level */
  HAL_GPIO_WritePin(GPIO_STATUS_GPIO_Port, GPIO_STATUS_Pin, GPIO_PIN_RESET);

  /*Configure GPIO pin : CODEC_NRST_Pin */
  GPIO_InitStruct.Pin = CODEC_NRST_Pin;
  GPIO_InitStruct.Mode = GPIO_MODE_OUTPUT_PP;
  GPIO_InitStruct.Pull = GPIO_NOPULL;
  GPIO_InitStruct.Speed = GPIO_SPEED_FREQ_LOW;
  HAL_GPIO_Init(CODEC_NRST_GPIO_Port, &GPIO_InitStruct);

  /*Configure GPIO pin : GPIO_STATUS_Pin */
  GPIO_InitStruct.Pin = GPIO_STATUS_Pin;
  GPIO_InitStruct.Mode = GPIO_MODE_OUTPUT_PP;
  GPIO_InitStruct.Pull = GPIO_NOPULL;
  GPIO_InitStruct.Speed = GPIO_SPEED_FREQ_LOW;
  HAL_GPIO_Init(GPIO_STATUS_GPIO_Port, &GPIO_InitStruct);

}

void Error_Handler(void)
{
  __disable_irq();
  while (1)
  {
  }
}
